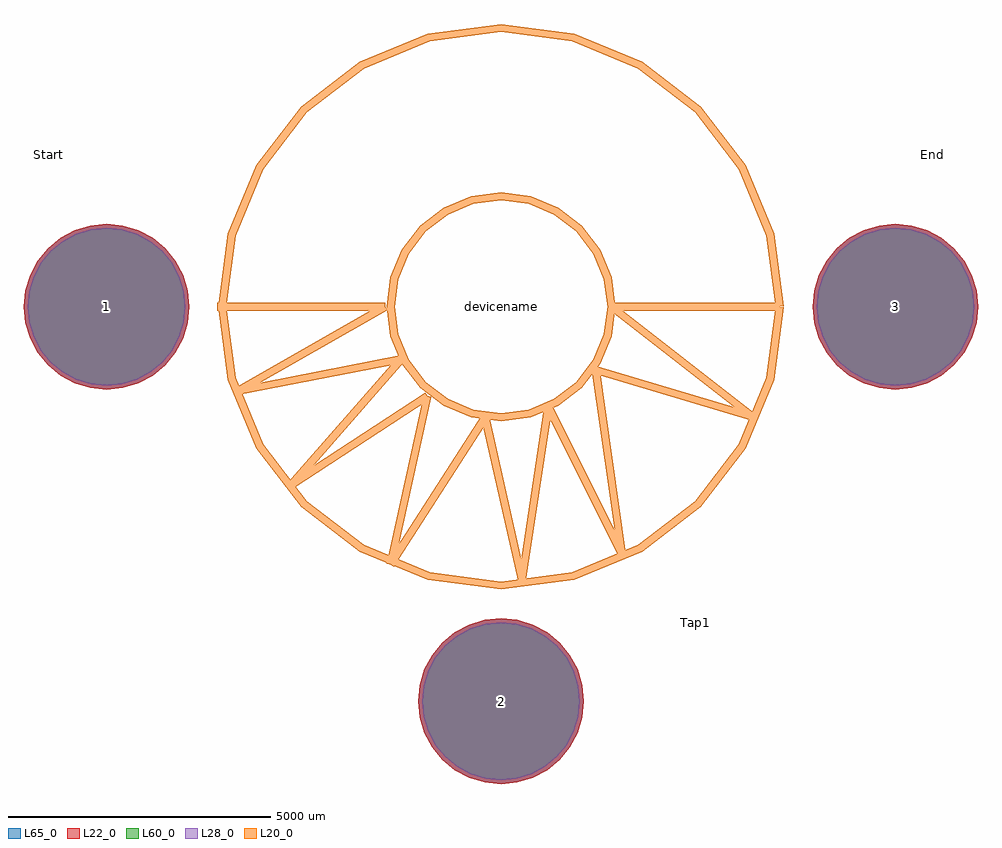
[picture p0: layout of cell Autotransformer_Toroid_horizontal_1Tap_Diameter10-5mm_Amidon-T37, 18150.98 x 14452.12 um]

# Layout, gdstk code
import gdstk
lib = gdstk.Library(unit=1e-6, precision=1e-09)
def P(c, l, *ps):  # polygons
    for p in ps: c.add(gdstk.Polygon(p, *l))
L20_0 = (20, 0)
L22_0 = (22, 0)
L28_0 = (28, 0)
L60_0 = (60, 0)
L65_0 = (65, 0)

autotransformer_toroid_h = lib.new_cell('Autotransformer_Toroid_horizontal_1Tap_Diameter10-5mm_Amidon-T37')
P(autotransformer_toroid_h, L22_0, [(1574.87,-7500.62),(1544.609,-7193.378),(1454.99,-6897.943),(1309.457,-6625.669),(1113.601,-6387.019),(874.951,-6191.163),(602.677,-6045.63),(307.242,-5956.011),(0,-5925.75),(-307.242,-5956.011),(-602.677,-6045.63),(-874.951,-6191.163),(-1113.601,-6387.019),(-1309.457,-6625.669),(-1454.99,-6897.943),(-1544.609,-7193.378),(-1574.87,-7500.62),(-1544.609,-7807.862),(-1454.99,-8103.297),(-1309.457,-8375.571),(-1113.601,-8614.221),(-874.951,-8810.077),(-602.677,-8955.61),(-307.242,-9045.229),(0,-9075.49),(307.242,-9045.229),(602.677,-8955.61),(874.951,-8810.077),(1113.601,-8614.221),(1309.457,-8375.571),(1454.99,-8103.297),(1544.609,-7807.862)],
  [(9075.49,0),(9045.229,307.242),(8955.61,602.677),(8810.077,874.951),(8614.221,1113.601),(8375.571,1309.457),(8103.297,1454.99),(7807.862,1544.609),(7500.62,1574.87),(7193.378,1544.609),(6897.943,1454.99),(6625.669,1309.457),(6387.019,1113.601),(6191.163,874.951),(6045.63,602.677),(5956.011,307.242),(5925.75,0),(5956.011,-307.242),(6045.63,-602.677),(6191.163,-874.951),(6387.019,-1113.601),(6625.669,-1309.457),(6897.943,-1454.99),(7193.378,-1544.609),(7500.62,-1574.87),(7807.862,-1544.609),(8103.297,-1454.99),(8375.571,-1309.457),(8614.221,-1113.601),(8810.077,-874.951),(8955.61,-602.677),(9045.229,-307.242)],
  [(-5925.75,0),(-5956.011,307.242),(-6045.63,602.677),(-6191.163,874.951),(-6387.019,1113.601),(-6625.669,1309.457),(-6897.943,1454.99),(-7193.378,1544.609),(-7500.62,1574.87),(-7807.862,1544.609),(-8103.297,1454.99),(-8375.571,1309.457),(-8614.221,1113.601),(-8810.077,874.951),(-8955.61,602.677),(-9045.229,307.242),(-9075.49,0),(-9045.229,-307.242),(-8955.61,-602.677),(-8810.077,-874.951),(-8614.221,-1113.601),(-8375.571,-1309.457),(-8103.297,-1454.99),(-7807.862,-1544.609),(-7500.62,-1574.87),(-7193.378,-1544.609),(-6897.943,-1454.99),(-6625.669,-1309.457),(-6387.019,-1113.601),(-6191.163,-874.951),(-6045.63,-602.677),(-5956.011,-307.242)])
P(autotransformer_toroid_h, L28_0, [(1499.87,-7500.62),(1471.05,-7208.01),(1385.699,-6926.645),(1247.096,-6667.337),(1060.568,-6440.052),(833.283,-6253.524),(573.975,-6114.921),(292.61,-6029.57),(0,-6000.75),(-292.61,-6029.57),(-573.975,-6114.921),(-833.283,-6253.524),(-1060.568,-6440.052),(-1247.096,-6667.337),(-1385.699,-6926.645),(-1471.05,-7208.01),(-1499.87,-7500.62),(-1471.05,-7793.23),(-1385.699,-8074.595),(-1247.096,-8333.903),(-1060.568,-8561.188),(-833.283,-8747.716),(-573.975,-8886.319),(-292.61,-8971.67),(0,-9000.49),(292.61,-8971.67),(573.975,-8886.319),(833.283,-8747.716),(1060.568,-8561.188),(1247.096,-8333.903),(1385.699,-8074.595),(1471.05,-7793.23)],
  [(9000.49,0),(8971.67,292.61),(8886.319,573.975),(8747.716,833.283),(8561.188,1060.568),(8333.903,1247.096),(8074.595,1385.699),(7793.23,1471.05),(7500.62,1499.87),(7208.01,1471.05),(6926.645,1385.699),(6667.337,1247.096),(6440.052,1060.568),(6253.524,833.283),(6114.921,573.975),(6029.57,292.61),(6000.75,0),(6029.57,-292.61),(6114.921,-573.975),(6253.524,-833.283),(6440.052,-1060.568),(6667.337,-1247.096),(6926.645,-1385.699),(7208.01,-1471.05),(7500.62,-1499.87),(7793.23,-1471.05),(8074.595,-1385.699),(8333.903,-1247.096),(8561.188,-1060.568),(8747.716,-833.283),(8886.319,-573.975),(8971.67,-292.61)],
  [(-6000.75,0),(-6029.57,292.61),(-6114.921,573.975),(-6253.524,833.283),(-6440.052,1060.568),(-6667.337,1247.096),(-6926.645,1385.699),(-7208.01,1471.05),(-7500.62,1499.87),(-7793.23,1471.05),(-8074.595,1385.699),(-8333.903,1247.096),(-8561.188,1060.568),(-8747.716,833.283),(-8886.319,573.975),(-8971.67,292.61),(-9000.49,0),(-8971.67,-292.61),(-8886.319,-573.975),(-8747.716,-833.283),(-8561.188,-1060.568),(-8333.903,-1247.096),(-8074.595,-1385.699),(-7793.23,-1471.05),(-7500.62,-1499.87),(-7208.01,-1471.05),(-6926.645,-1385.699),(-6667.337,-1247.096),(-6440.052,-1060.568),(-6253.524,-833.283),(-6114.921,-573.975),(-6029.57,-292.61)])
P(autotransformer_toroid_h, L60_0, [(1499.87,-7500.62),(1471.05,-7208.01),(1385.699,-6926.645),(1247.096,-6667.337),(1060.568,-6440.052),(833.283,-6253.524),(573.975,-6114.921),(292.61,-6029.57),(0,-6000.75),(-292.61,-6029.57),(-573.975,-6114.921),(-833.283,-6253.524),(-1060.568,-6440.052),(-1247.096,-6667.337),(-1385.699,-6926.645),(-1471.05,-7208.01),(-1499.87,-7500.62),(-1471.05,-7793.23),(-1385.699,-8074.595),(-1247.096,-8333.903),(-1060.568,-8561.188),(-833.283,-8747.716),(-573.975,-8886.319),(-292.61,-8971.67),(0,-9000.49),(292.61,-8971.67),(573.975,-8886.319),(833.283,-8747.716),(1060.568,-8561.188),(1247.096,-8333.903),(1385.699,-8074.595),(1471.05,-7793.23)],
  [(9000.49,0),(8971.67,292.61),(8886.319,573.975),(8747.716,833.283),(8561.188,1060.568),(8333.903,1247.096),(8074.595,1385.699),(7793.23,1471.05),(7500.62,1499.87),(7208.01,1471.05),(6926.645,1385.699),(6667.337,1247.096),(6440.052,1060.568),(6253.524,833.283),(6114.921,573.975),(6029.57,292.61),(6000.75,0),(6029.57,-292.61),(6114.921,-573.975),(6253.524,-833.283),(6440.052,-1060.568),(6667.337,-1247.096),(6926.645,-1385.699),(7208.01,-1471.05),(7500.62,-1499.87),(7793.23,-1471.05),(8074.595,-1385.699),(8333.903,-1247.096),(8561.188,-1060.568),(8747.716,-833.283),(8886.319,-573.975),(8971.67,-292.61)],
  [(-6000.75,0),(-6029.57,292.61),(-6114.921,573.975),(-6253.524,833.283),(-6440.052,1060.568),(-6667.337,1247.096),(-6926.645,1385.699),(-7208.01,1471.05),(-7500.62,1499.87),(-7793.23,1471.05),(-8074.595,1385.699),(-8333.903,1247.096),(-8561.188,1060.568),(-8747.716,833.283),(-8886.319,573.975),(-8971.67,292.61),(-9000.49,0),(-8971.67,-292.61),(-8886.319,-573.975),(-8747.716,-833.283),(-8561.188,-1060.568),(-8333.903,-1247.096),(-8074.595,-1385.699),(-7793.23,-1471.05),(-7500.62,-1499.87),(-7208.01,-1471.05),(-6926.645,-1385.699),(-6667.337,-1247.096),(-6440.052,-1060.568),(-6253.524,-833.283),(-6114.921,-573.975),(-6029.57,-292.61)])
P(autotransformer_toroid_h, L65_0, [(1574.87,-7500.62),(1544.609,-7193.378),(1454.99,-6897.943),(1309.457,-6625.669),(1113.601,-6387.019),(874.951,-6191.163),(602.677,-6045.63),(307.242,-5956.011),(0,-5925.75),(-307.242,-5956.011),(-602.677,-6045.63),(-874.951,-6191.163),(-1113.601,-6387.019),(-1309.457,-6625.669),(-1454.99,-6897.943),(-1544.609,-7193.378),(-1574.87,-7500.62),(-1544.609,-7807.862),(-1454.99,-8103.297),(-1309.457,-8375.571),(-1113.601,-8614.221),(-874.951,-8810.077),(-602.677,-8955.61),(-307.242,-9045.229),(0,-9075.49),(307.242,-9045.229),(602.677,-8955.61),(874.951,-8810.077),(1113.601,-8614.221),(1309.457,-8375.571),(1454.99,-8103.297),(1544.609,-7807.862)],
  [(9075.49,0),(9045.229,307.242),(8955.61,602.677),(8810.077,874.951),(8614.221,1113.601),(8375.571,1309.457),(8103.297,1454.99),(7807.862,1544.609),(7500.62,1574.87),(7193.378,1544.609),(6897.943,1454.99),(6625.669,1309.457),(6387.019,1113.601),(6191.163,874.951),(6045.63,602.677),(5956.011,307.242),(5925.75,0),(5956.011,-307.242),(6045.63,-602.677),(6191.163,-874.951),(6387.019,-1113.601),(6625.669,-1309.457),(6897.943,-1454.99),(7193.378,-1544.609),(7500.62,-1574.87),(7807.862,-1544.609),(8103.297,-1454.99),(8375.571,-1309.457),(8614.221,-1113.601),(8810.077,-874.951),(8955.61,-602.677),(9045.229,-307.242)],
  [(-5925.75,0),(-5956.011,307.242),(-6045.63,602.677),(-6191.163,874.951),(-6387.019,1113.601),(-6625.669,1309.457),(-6897.943,1454.99),(-7193.378,1544.609),(-7500.62,1574.87),(-7807.862,1544.609),(-8103.297,1454.99),(-8375.571,1309.457),(-8614.221,1113.601),(-8810.077,874.951),(-8955.61,602.677),(-9045.229,307.242),(-9075.49,0),(-9045.229,-307.242),(-8955.61,-602.677),(-8810.077,-874.951),(-8614.221,-1113.601),(-8375.571,-1309.457),(-8103.297,-1454.99),(-7807.862,-1544.609),(-7500.62,-1574.87),(-7193.378,-1544.609),(-6897.943,-1454.99),(-6625.669,-1309.457),(-6387.019,-1113.601),(-6191.163,-874.951),(-6045.63,-602.677),(-5956.011,-307.242)])
autotransformer_toroid_h.add(gdstk.FlexPath([(5300.98,0),(5120.353,1371.995),(4590.783,2650.49),(3748.359,3748.359),(2650.49,4590.783),(1371.995,5120.353),(0,5300.98),(-1371.995,5120.353),(-2650.49,4590.783),(-3748.359,3748.359),(-4590.783,2650.49),(-5120.353,1371.995),(-5300.98,0),(-5120.353,-1371.995),(-4590.783,-2650.49),(-3748.359,-3748.359),(-2650.49,-4590.783),(-1371.995,-5120.353),(0,-5300.98),(1371.995,-5120.353),(2650.49,-4590.783),(3748.359,-3748.359),(4590.783,-2650.49),(5120.353,-1371.995),(5300.98,0)], 149.998, ends="flush", simple_path=True, layer=20, datatype=0))  # L20_0
autotransformer_toroid_h.add(gdstk.FlexPath([(2100.58,0),(2029.004,543.67),(1819.156,1050.29),(1485.334,1485.334),(1050.29,1819.156),(543.67,2029.004),(0,2100.58),(-543.67,2029.004),(-1050.29,1819.156),(-1485.334,1485.334),(-1819.156,1050.29),(-2029.004,543.67),(-2100.58,0),(-2029.004,-543.67),(-1819.156,-1050.29),(-1485.334,-1485.334),(-1050.29,-1819.156),(-543.67,-2029.004),(0,-2100.58),(543.67,-2029.004),(1050.29,-1819.156),(1485.334,-1485.334),(1819.156,-1050.29),(2029.004,-543.67),(2100.58,0)], 149.998, ends="flush", simple_path=True, layer=20, datatype=0))  # L20_0
autotransformer_toroid_h.add(gdstk.FlexPath([(2100.58,0),(5300.98,0)], 149.998, ends="flush", simple_path=True, layer=20, datatype=0))  # L20_0
autotransformer_toroid_h.add(gdstk.FlexPath([(4800.6,-2100.58),(2100.58,0)], 149.998, ends="flush", simple_path=True, layer=20, datatype=0))  # L20_0
autotransformer_toroid_h.add(gdstk.FlexPath([(1800.86,-1198.88),(4800.6,-2100.58)], 149.998, ends="flush", simple_path=True, layer=20, datatype=0))  # L20_0
autotransformer_toroid_h.add(gdstk.FlexPath([(2301.24,-4699),(1800.86,-1198.88)], 149.998, ends="flush", simple_path=True, layer=20, datatype=0))  # L20_0
autotransformer_toroid_h.add(gdstk.FlexPath([(899.16,-1899.92),(2301.24,-4699)], 149.998, ends="flush", simple_path=True, layer=20, datatype=0))  # L20_0
autotransformer_toroid_h.add(gdstk.FlexPath([(398.78,-5199.38),(899.16,-1899.92)], 149.998, ends="flush", simple_path=True, layer=20, datatype=0))  # L20_0
autotransformer_toroid_h.add(gdstk.FlexPath([(-299.72,-2100.58),(398.78,-5199.38)], 149.998, ends="flush", simple_path=True, layer=20, datatype=0))  # L20_0
autotransformer_toroid_h.add(gdstk.FlexPath([(-2100.58,-4899.66),(-299.72,-2100.58)], 149.998, ends="flush", simple_path=True, layer=20, datatype=0))  # L20_0
autotransformer_toroid_h.add(gdstk.FlexPath([(-1399.54,-1699.26),(-2100.58,-4899.66)], 149.998, ends="flush", simple_path=True, layer=20, datatype=0))  # L20_0
autotransformer_toroid_h.add(gdstk.FlexPath([(-4000.5,-3401.06),(-1399.54,-1699.26)], 149.998, ends="flush", simple_path=True, layer=20, datatype=0))  # L20_0
autotransformer_toroid_h.add(gdstk.FlexPath([(-1899.92,-1000.76),(-4000.5,-3401.06)], 149.998, ends="flush", simple_path=True, layer=20, datatype=0))  # L20_0
autotransformer_toroid_h.add(gdstk.FlexPath([(-5001.26,-1600.2),(-1899.92,-1000.76)], 149.998, ends="flush", simple_path=True, layer=20, datatype=0))  # L20_0
autotransformer_toroid_h.add(gdstk.FlexPath([(-2199.64,0),(-5001.26,-1600.2)], 149.998, ends="flush", simple_path=True, layer=20, datatype=0))  # L20_0
autotransformer_toroid_h.add(gdstk.FlexPath([(-5400.04,0),(-2199.64,0)], 149.998, ends="flush", simple_path=True, layer=20, datatype=0))  # L20_0
autotransformer_toroid_h.add(gdstk.Label('2', (0,-7500.62), layer=28, texttype=0))
autotransformer_toroid_h.add(gdstk.Label('3', (7500.62,0), layer=28, texttype=0))
autotransformer_toroid_h.add(gdstk.Label('1', (-7500.62,0), layer=28, texttype=0))
autotransformer_toroid_h.add(gdstk.Label('Start', (-8600.44,2900.68), layer=9, texttype=0))
autotransformer_toroid_h.add(gdstk.Label('End', (8199.12,2900.68), layer=9, texttype=0))
autotransformer_toroid_h.add(gdstk.Label('Tap1', (3700.78,-5999.48), layer=9, texttype=0))
autotransformer_toroid_h.add(gdstk.Label('type', (0,-11430), layer=9, texttype=0))
autotransformer_toroid_h.add(gdstk.Label('devicename', (0,0), layer=9, texttype=0))

lib.write_gds('Autotransformer_Toroid_horizontal_1Tap_Diameter10-5mm_Amidon-T37.gds')
